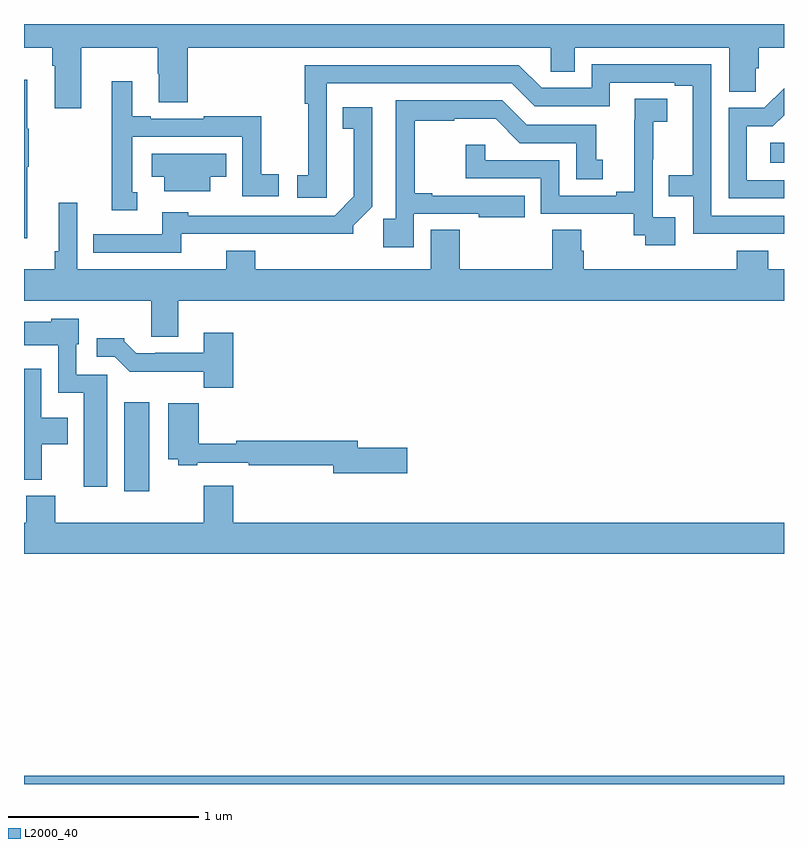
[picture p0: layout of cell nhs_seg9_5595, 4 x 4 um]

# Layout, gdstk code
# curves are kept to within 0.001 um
import gdstk
lib = gdstk.Library(unit=1e-6, precision=1e-09)
def R(c, l, rs):  # rectangles x0, y0, x1, y1
    for r in rs: c.add(gdstk.rectangle(r[:2], r[2:], *l))
def P(c, l, *ps):  # polygons
    for p in ps: c.add(gdstk.Polygon(p, *l))
L2000_40 = (2000, 40)

nhs_seg9_5595 = lib.new_cell('nhs_seg9_5595')
R(nhs_seg9_5595, L2000_40, [(435,1236.5,439,1236.544), (435.527,1238.04,435.658,1238.509), (438.927,1239.77,439,1239.874)])
P(nhs_seg9_5595, L2000_40, [(435.301,1240.376),(435.703,1240.376),(435.703,1240.238),(435.71,1240.238),(435.71,1240.087),(435.863,1240.087),(435.863,1240.376),(437.772,1240.376),(437.772,1240.249),(437.899,1240.249),(437.899,1240.376),(438.713,1240.376),(438.713,1240.144),(438.852,1240.144),(438.852,1240.267),(438.866,1240.267),(438.866,1240.376),(439,1240.376),(439,1240.5),(435,1240.5),(435,1240.376),(435.149,1240.376),(435.149,1240.28),(435.161,1240.28),(435.161,1240.056),(435.301,1240.056)],
  [(439,1239.492),(438.618,1239.492),(438.618,1240.287),(437.988,1240.287),(437.988,1240.164),(437.724,1240.164),(437.604,1240.284),(436.477,1240.284),(436.477,1240.081),(436.495,1240.081),(436.495,1239.705),(436.437,1239.705),(436.437,1239.585),(436.594,1239.585),(436.593,1240.188),(437.568,1240.188),(437.688,1240.068),(438.084,1240.068),(438.084,1240.191),(438.425,1240.191),(438.425,1240.176),(438.521,1240.176),(438.521,1239.703),(438.394,1239.703),(438.394,1239.594),(438.522,1239.594),(438.522,1239.396),(439,1239.396)],
  [(435.016,1239.749),(435.024,1239.749),(435.024,1239.949),(435.016,1239.949),(435.016,1240.207),(435,1240.207),(435,1239.372),(435.016,1239.372)],
  [(435.595,1239.615),(435.57,1239.615),(435.57,1239.906),(436.149,1239.906),(436.149,1239.594),(436.342,1239.594),(436.342,1239.71),(436.248,1239.71),(436.248,1240.015),(435.946,1240.015),(435.946,1240.002),(435.667,1240.002),(435.667,1240.015),(435.571,1240.015),(435.571,1240.198),(435.461,1240.198),(435.461,1239.953),(435.462,1239.953),(435.462,1239.521),(435.595,1239.521)],
  [(439,1239.678),(438.804,1239.678),(438.804,1239.963),(438.942,1239.963),(439,1240.021),(439,1240.162),(438.897,1240.059),(438.708,1240.059),(438.708,1239.582),(439,1239.582)],
  [(438.427,1239.483),(438.309,1239.483),(438.309,1239.787),(438.311,1239.787),(438.311,1239.985),(438.385,1239.985),(438.385,1240.106),(438.214,1240.106),(438.214,1239.995),(438.212,1239.995),(438.212,1239.617),(438.116,1239.617),(438.116,1239.597),(437.817,1239.597),(437.817,1239.783),(437.427,1239.783),(437.427,1239.865),(437.326,1239.865),(437.326,1239.687),(437.721,1239.687),(437.721,1239.501),(438.208,1239.501),(438.208,1239.387),(438.271,1239.387),(438.271,1239.336),(438.427,1239.336)],
  [(437.052,1239.501),(437.393,1239.501),(437.393,1239.482),(437.636,1239.482),(437.636,1239.597),(437.149,1239.597),(437.149,1239.61),(437.057,1239.61),(437.057,1239.99),(437.264,1239.99),(437.264,1240.001),(437.482,1240.001),(437.61,1239.873),(437.906,1239.873),(437.906,1239.682),(438.046,1239.682),(438.046,1239.786),(438.013,1239.786),(438.013,1239.969),(437.646,1239.969),(437.517,1240.098),(436.956,1240.098),(436.956,1239.475),(436.891,1239.475),(436.891,1239.324),(437.052,1239.324)],
  [(435.828,1239.396),(436.734,1239.395),(436.734,1239.439),(436.833,1239.538),(436.833,1240.063),(436.678,1240.063),(436.678,1239.95),(436.736,1239.95),(436.736,1239.593),(436.635,1239.492),(435.864,1239.492),(435.864,1239.508),(435.728,1239.508),(435.728,1239.393),(435.364,1239.393),(435.364,1239.297),(435.828,1239.297)],
  [(435.979,1239.695),(436.064,1239.695),(436.064,1239.817),(435.672,1239.817),(435.672,1239.695),(435.737,1239.695),(435.737,1239.62),(435.979,1239.62)],
  [(435.811,1239.044),(439,1239.044),(439,1239.208),(438.917,1239.208),(438.917,1239.307),(438.752,1239.307),(438.752,1239.208),(437.945,1239.208),(437.945,1239.306),(437.932,1239.306),(437.932,1239.416),(437.78,1239.416),(437.78,1239.208),(437.294,1239.208),(437.294,1239.416),(437.141,1239.416),(437.141,1239.208),(436.217,1239.208),(436.217,1239.307),(436.064,1239.307),(436.064,1239.208),(435.279,1239.208),(435.279,1239.559),(435.182,1239.559),(435.182,1239.304),(435.163,1239.304),(435.163,1239.208),(435,1239.208),(435,1239.044),(435.671,1239.044),(435.671,1238.854),(435.811,1238.854)],
  [(435.439,1238.655),(435.276,1238.655),(435.276,1238.814),(435.289,1238.814),(435.289,1238.95),(435.144,1238.95),(435.144,1238.932),(435,1238.932),(435,1238.81),(435.18,1238.81),(435.18,1238.558),(435.314,1238.558),(435.314,1238.064),(435.439,1238.064)],
  [(436.1,1238.875),(435.947,1238.875),(435.947,1238.769),(435.691,1238.769),(435.691,1238.766),(435.592,1238.766),(435.528,1238.83),(435.528,1238.845),(435.384,1238.845),(435.384,1238.748),(435.477,1238.748),(435.556,1238.67),(435.945,1238.67),(435.945,1238.585),(436.1,1238.585)],
  [(435.093,1238.288),(435.229,1238.288),(435.229,1238.428),(435.09,1238.428),(435.09,1238.685),(435,1238.685),(435,1238.102),(435.093,1238.102)],
  [(437.017,1238.27),(436.756,1238.27),(436.756,1238.306),(436.118,1238.306),(436.118,1238.291),(435.92,1238.291),(435.92,1238.503),(435.758,1238.503),(435.758,1238.21),(435.813,1238.21),(435.813,1238.178),(435.913,1238.178),(435.913,1238.19),(436.183,1238.19),(436.183,1238.178),(436.628,1238.178),(436.628,1238.135),(437.017,1238.135)],
  [(439,1237.876),(436.1,1237.876),(436.1,1238.071),(435.947,1238.071),(435.947,1237.876),(435.164,1237.876),(435.164,1238.017),(435.011,1238.017),(435.011,1237.876),(435,1237.876),(435,1237.712),(439,1237.712)])

lib.write_gds('nhs_seg9_5595.gds')
